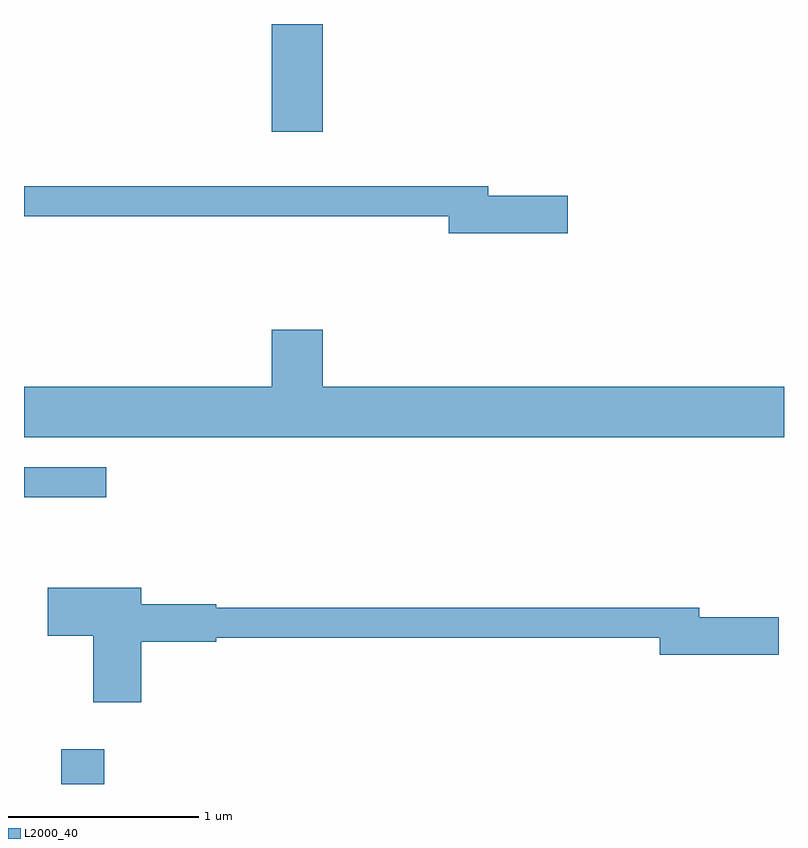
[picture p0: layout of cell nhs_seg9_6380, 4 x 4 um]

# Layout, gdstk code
import gdstk
lib = gdstk.Library(unit=1e-6, precision=1e-09)
def R(c, l, rs):  # rectangles x0, y0, x1, y1
    for r in rs: c.add(gdstk.rectangle(r[:2], r[2:], *l))
def P(c, l, *ps):  # polygons
    for p in ps: c.add(gdstk.Polygon(p, *l))
L2000_40 = (2000, 40)

nhs_seg9_6380 = lib.new_cell('nhs_seg9_6380')
R(nhs_seg9_6380, L2000_40, [(373.806,1994.432,374.034,1994.614), (373.611,1995.941,374.043,1996.099), (374.916,1997.866,375.184,1998.432)])
P(nhs_seg9_6380, L2000_40, [(376.474,1997.529),(376.054,1997.529),(376.054,1997.579),(373.611,1997.579),(373.611,1997.421),(375.846,1997.421),(375.846,1997.331),(376.474,1997.331)],
  [(377.611,1996.524),(375.184,1996.524),(375.184,1996.824),(374.916,1996.824),(374.916,1996.524),(373.611,1996.524),(373.611,1996.256),(377.611,1996.256)],
  [(374.229,1995.181),(374.624,1995.181),(374.624,1995.201),(376.956,1995.201),(376.956,1995.111),(377.584,1995.111),(377.584,1995.309),(377.164,1995.309),(377.164,1995.359),(374.624,1995.359),(374.624,1995.379),(374.229,1995.379),(374.229,1995.464),(373.736,1995.464),(373.736,1995.211),(373.976,1995.211),(373.976,1994.861),(374.229,1994.861)])

lib.write_gds('nhs_seg9_6380.gds')
